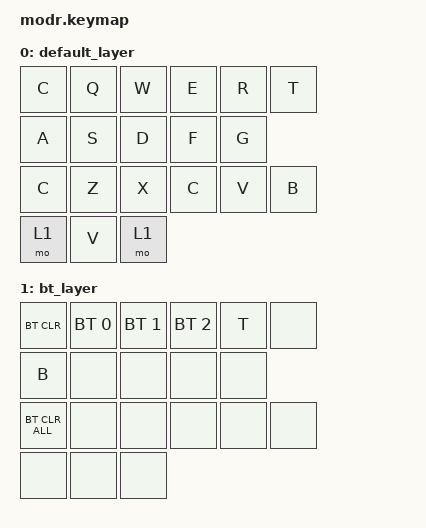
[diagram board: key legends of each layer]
#include <behaviors.dtsi>
#include <dt-bindings/zmk/keys.h>
#include <dt-bindings/zmk/bt.h>

/ {
    keymap {
        compatible = "zmk,keymap";

        default_layer {
            bindings = <
                &kp C      &kp Q     &kp W     &kp E      &kp R      &kp T 
                &kp A      &kp S     &kp D     &kp F      &kp G 
                &kp C      &kp Z     &kp X     &kp C      &kp V      &kp B  
                &mo 1      &kp V     &mo 1
                >;
            };

        bt_layer {
            bindings = <
                &bt BT_CLR &bt BT_SEL 0 &bt BT_SEL 1 &bt BT_SEL 2    &kp T      &none 
                &kp B      &none     &none     &none      &none 
                &bt BT_CLR_ALL      &none     &none     &none      &none      &none  
                &none      &none     &none
                >;
        };
    };
};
